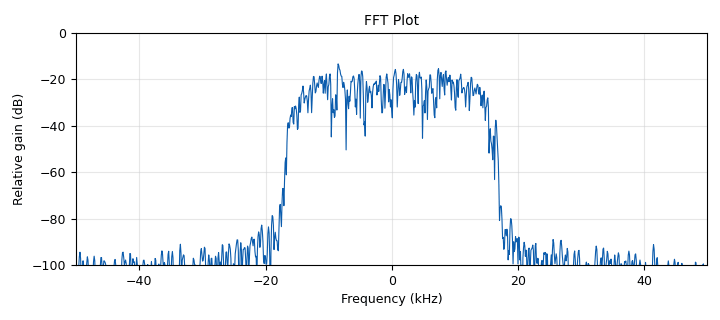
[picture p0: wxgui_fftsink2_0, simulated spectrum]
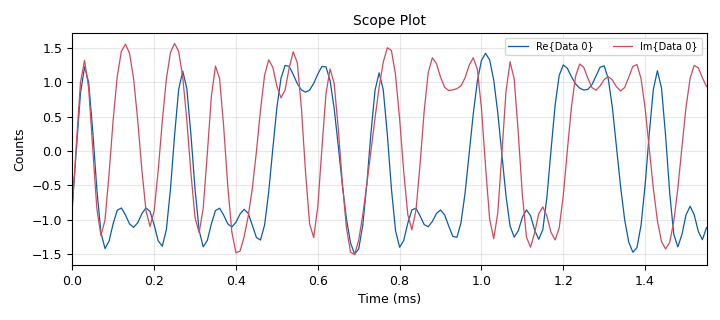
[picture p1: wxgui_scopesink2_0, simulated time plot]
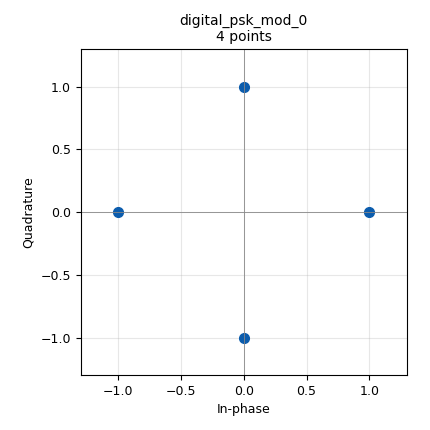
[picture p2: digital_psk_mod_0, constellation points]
<?xml version='1.0' encoding='utf-8'?>
<?grc format='1' created='3.7.9'?>
<flow_graph>
<block>
<key>options</key>
<param><key>id</key><value>top_block</value></param>
<param><key>category</key><value>Custom</value></param>
<param><key>generate_options</key><value>wx_gui</value></param>
</block>
<block>
<key>variable_slider</key>
<param><key>id</key><value>freq_off</value></param>
<param><key>converver</key><value>float_converter</value></param>
<param><key>value</key><value>0</value></param>
<param><key>label</key><value>Frequency Offset</value></param>
<param><key>max</key><value>1</value></param>
<param><key>min</key><value>-1</value></param>
<param><key>num_steps</key><value>100</value></param>
<param><key>style</key><value>wx.SL_HORIZONTAL</value></param>
</block>
<block>
<key>variable_slider</key>
<param><key>id</key><value>noise_volt</value></param>
<param><key>converver</key><value>float_converter</value></param>
<param><key>value</key><value>0.0</value></param>
<param><key>label</key><value>Noise Voltage</value></param>
<param><key>max</key><value>1</value></param>
<param><key>min</key><value>0</value></param>
<param><key>num_steps</key><value>100</value></param>
<param><key>style</key><value>wx.SL_HORIZONTAL</value></param>
</block>
<block>
<key>variable</key>
<param><key>id</key><value>samp_rate</value></param>
<param><key>value</key><value>100000</value></param>
</block>
<block>
<key>variable</key>
<param><key>id</key><value>var_sps</value></param>
<param><key>value</key><value>4</value></param>
</block>
<block>
<key>analog_random_source_x</key>
<param><key>id</key><value>analog_random_source_x_0</value></param>
<param><key>max</key><value>255</value></param>
<param><key>min</key><value>0</value></param>
<param><key>num_samps</key><value>1000</value></param>
<param><key>type</key><value>byte</value></param>
<param><key>repeat</key><value>True</value></param>
</block>
<block>
<key>blocks_multiply_const_vxx</key>
<param><key>id</key><value>blocks_multiply_const_vxx_0</value></param>
<param><key>const</key><value>complex(1,1)</value></param>
<param><key>type</key><value>complex</value></param>
</block>
<block>
<key>blocks_throttle</key>
<param><key>id</key><value>blocks_throttle_0</value></param>
<param><key>samples_per_second</key><value>samp_rate</value></param>
<param><key>type</key><value>complex</value></param>
</block>
<block>
<key>channels_channel_model</key>
<param><key>id</key><value>channels_channel_model_0</value></param>
<param><key>epsilon</key><value>1.0</value></param>
<param><key>freq_offset</key><value>freq_off</value></param>
<param><key>noise_voltage</key><value>noise_volt</value></param>
<param><key>seed</key><value>0</value></param>
<param><key>taps</key><value>1</value></param>
</block>
<block>
<key>digital_psk_mod</key>
<param><key>id</key><value>digital_psk_mod_0</value></param>
<param><key>differential</key><value>True</value></param>
<param><key>excess_bw</key><value>0.35</value></param>
<param><key>mod_code</key><value>"gray"</value></param>
<param><key>constellation_points</key><value>4</value></param>
<param><key>samples_per_symbol</key><value>var_sps</value></param>
</block>
<block>
<key>wxgui_fftsink2</key>
<param><key>id</key><value>wxgui_fftsink2_0</value></param>
<param><key>avg_alpha</key><value>0</value></param>
<param><key>average</key><value>False</value></param>
<param><key>baseband_freq</key><value>0</value></param>
<param><key>fft_size</key><value>1024</value></param>
<param><key>freqvar</key><value>None</value></param>
<param><key>grid_pos</key><value>(1,2,5,5)</value></param>
<param><key>peak_hold</key><value>False</value></param>
<param><key>ref_level</key><value>0</value></param>
<param><key>ref_scale</key><value>2.0</value></param>
<param><key>fft_rate</key><value>15</value></param>
<param><key>samp_rate</key><value>samp_rate</value></param>
<param><key>title</key><value>FFT Plot</value></param>
<param><key>type</key><value>complex</value></param>
<param><key>win_size</key><value>(400,100)</value></param>
<param><key>win</key><value>None</value></param>
<param><key>y_divs</key><value>10</value></param>
<param><key>y_per_div</key><value>10</value></param>
</block>
<block>
<key>wxgui_scopesink2</key>
<param><key>id</key><value>wxgui_scopesink2_0</value></param>
<param><key>ac_couple</key><value>False</value></param>
<param><key>grid_pos</key><value>1,0,5,1</value></param>
<param><key>num_inputs</key><value>1</value></param>
<param><key>samp_rate</key><value>samp_rate</value></param>
<param><key>t_scale</key><value>0</value></param>
<param><key>title</key><value>Scope Plot</value></param>
<param><key>trig_mode</key><value>wxgui.TRIG_MODE_AUTO</value></param>
<param><key>type</key><value>complex</value></param>
<param><key>v_offset</key><value>0</value></param>
<param><key>v_scale</key><value>0</value></param>
<param><key>win_size</key><value>(250,100)</value></param>
<param><key>xy_mode</key><value>False</value></param>
<param><key>y_axis_label</key><value>Counts</value></param>
</block>
<connection><source_block_id>analog_random_source_x_0</source_block_id><sink_block_id>digital_psk_mod_0</sink_block_id><source_key>0</source_key><sink_key>0</sink_key></connection>
<connection><source_block_id>blocks_multiply_const_vxx_0</source_block_id><sink_block_id>blocks_throttle_0</sink_block_id><source_key>0</source_key><sink_key>0</sink_key></connection>
<connection><source_block_id>blocks_throttle_0</source_block_id><sink_block_id>channels_channel_model_0</sink_block_id><source_key>0</source_key><sink_key>0</sink_key></connection>
<connection><source_block_id>channels_channel_model_0</source_block_id><sink_block_id>wxgui_fftsink2_0</sink_block_id><source_key>0</source_key><sink_key>0</sink_key></connection>
<connection><source_block_id>channels_channel_model_0</source_block_id><sink_block_id>wxgui_scopesink2_0</sink_block_id><source_key>0</source_key><sink_key>0</sink_key></connection>
<connection><source_block_id>digital_psk_mod_0</source_block_id><sink_block_id>blocks_multiply_const_vxx_0</sink_block_id><source_key>0</source_key><sink_key>0</sink_key></connection>
</flow_graph>
